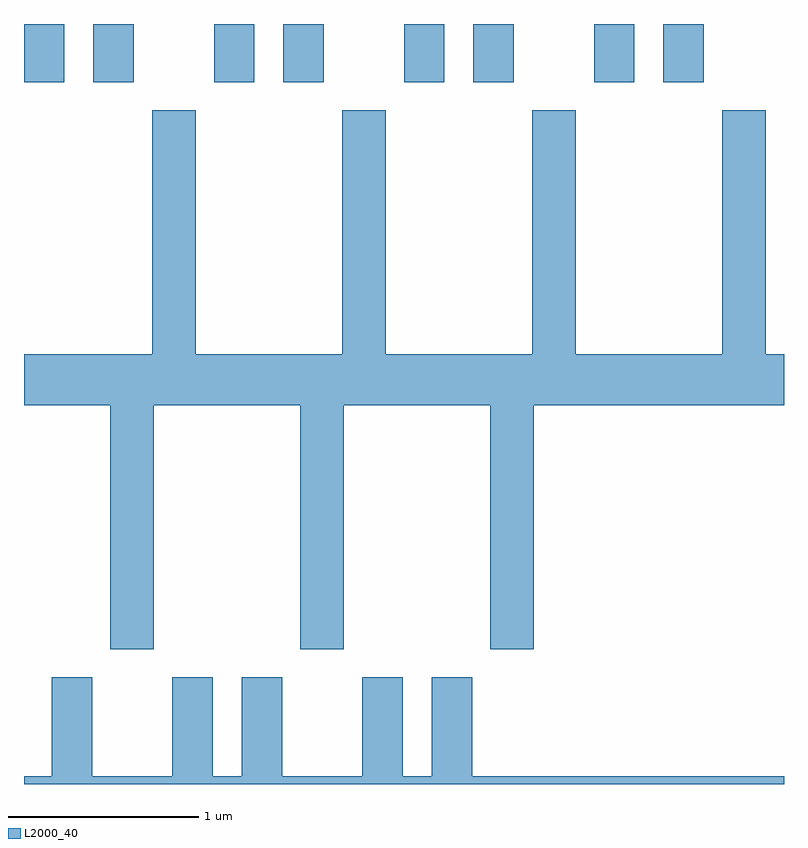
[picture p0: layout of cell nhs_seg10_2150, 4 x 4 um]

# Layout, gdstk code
import gdstk
lib = gdstk.Library(unit=1e-6, precision=1e-09)
def R(c, l, rs):  # rectangles x0, y0, x1, y1
    for r in rs: c.add(gdstk.rectangle(r[:2], r[2:], *l))
def P(c, l, *ps):  # polygons
    for p in ps: c.add(gdstk.Polygon(p, *l))
L2000_40 = (2000, 40)

nhs_seg10_2150 = lib.new_cell('nhs_seg10_2150')
R(nhs_seg10_2150, L2000_40, [(247.611,2182.216,247.824,2182.522), (247.976,2182.216,248.189,2182.522), (248.611,2182.216,248.824,2182.522), (248.976,2182.216,249.189,2182.522), (249.611,2182.216,249.824,2182.522), (249.976,2182.216,250.189,2182.522), (250.611,2182.216,250.824,2182.522), (250.976,2182.216,251.189,2182.522)])
P(nhs_seg10_2150, L2000_40, [(248.294,2180.516),(249.066,2180.516),(249.066,2179.231),(249.294,2179.231),(249.294,2180.516),(250.066,2180.516),(250.066,2179.231),(250.294,2179.231),(250.294,2180.516),(251.611,2180.516),(251.611,2180.784),(251.514,2180.784),(251.514,2182.069),(251.286,2182.069),(251.286,2180.784),(250.514,2180.784),(250.514,2182.069),(250.286,2182.069),(250.286,2180.784),(249.514,2180.784),(249.514,2182.069),(249.286,2182.069),(249.286,2180.784),(248.514,2180.784),(248.514,2182.069),(248.286,2182.069),(248.286,2180.784),(247.611,2180.784),(247.611,2180.516),(248.066,2180.516),(248.066,2179.231),(248.294,2179.231)],
  [(251.611,2178.564),(249.969,2178.564),(249.969,2179.084),(249.756,2179.084),(249.756,2178.564),(249.604,2178.564),(249.604,2179.084),(249.391,2179.084),(249.391,2178.564),(248.969,2178.564),(248.969,2179.084),(248.756,2179.084),(248.756,2178.564),(248.604,2178.564),(248.604,2179.084),(248.391,2179.084),(248.391,2178.564),(247.969,2178.564),(247.969,2179.084),(247.756,2179.084),(247.756,2178.564),(247.611,2178.564),(247.611,2178.522),(251.611,2178.522)])

lib.write_gds('nhs_seg10_2150.gds')
